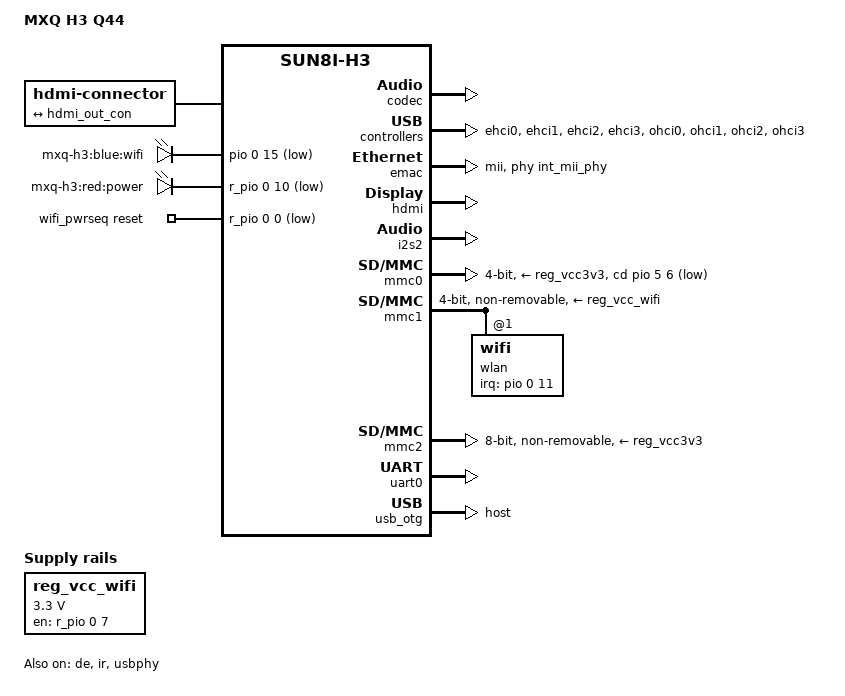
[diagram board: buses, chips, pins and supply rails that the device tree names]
// SPDX-License-Identifier: (GPL-2.0+ or MIT)
/*
 * MXQ H3 TV box, PCB Q44_V4.1_20210120.
 * Based on the Sunvell R69 DTS and the factory Android DT.
 */

/dts-v1/;
#include "sun8i-h3.dtsi"
#include "sunxi-common-regulators.dtsi"

#include <dt-bindings/gpio/gpio.h>
#include <dt-bindings/interrupt-controller/irq.h>
#include <dt-bindings/pinctrl/sun4i-a10.h>
#include <dt-bindings/thermal/thermal.h>

/ {
	model = "MXQ H3 Q44";
	compatible = "mxq,mxq-h3", "allwinner,sun8i-h3";

	aliases {
		ethernet0 = &emac;
		ethernet1 = &wlan;
		serial0 = &uart0;
	};

	chosen {
		stdout-path = "serial0:115200n8";
	};

	connector {
		compatible = "hdmi-connector";
		type = "a";

		port {
			hdmi_con_in: endpoint {
				remote-endpoint = <&hdmi_out_con>;
			};
		};
	};

	leds {
		compatible = "gpio-leds";

		/* mxq-h3-wifi-led turns this LED on while wlan0 has an IPv4 address. */
		led-0 {
			label = "mxq-h3:blue:wifi";
			gpios = <&pio 0 15 GPIO_ACTIVE_LOW>; /* PA15 */
			default-state = "off";
		};

		led-1 {
			label = "mxq-h3:red:power";
			gpios = <&r_pio 0 10 GPIO_ACTIVE_LOW>; /* PL10 */
			default-state = "on";
		};
	};

	reg_vcc_wifi: vcc-wifi-regulator {
		compatible = "regulator-fixed";
		regulator-name = "vcc-wifi";
		regulator-min-microvolt = <3300000>;
		regulator-max-microvolt = <3300000>;
		gpio = <&r_pio 0 7 GPIO_ACTIVE_HIGH>; /* PL7 */
		startup-delay-us = <70000>;
		enable-active-high;
	};

	wifi_pwrseq: pwrseq {
		compatible = "mmc-pwrseq-simple";
		reset-gpios = <&r_pio 0 0 GPIO_ACTIVE_LOW>; /* PL0 */
		post-power-on-delay-ms = <200>;
	};
};

&codec {
	allwinner,audio-routing =
		"Line Out", "LINEOUT",
		"MIC1", "Mic",
		"Mic",  "MBIAS";
	status = "okay";
};

/*
 * The board has no known CPU voltage control.
 * With PL6 as a GPIO regulator and OPPs up to 1.2 GHz, the kernel crashed under load.
 * The factory boot0 runs the CPU at 1008 MHz.
 */
&cpu0_opp_table {
	/delete-node/ opp-1104000000;
	/delete-node/ opp-1200000000;
	/delete-node/ opp-1296000000;
	/delete-node/ opp-1368000000;
};

&de {
	status = "okay";
};

&ehci0 {
	status = "okay";
};

&ehci1 {
	status = "okay";
};

&ehci2 {
	status = "okay";
};

&ehci3 {
	status = "okay";
};

&emac {
	phy-handle = <&int_mii_phy>;
	phy-mode = "mii";
	allwinner,leds-active-low;
	status = "okay";
};

&hdmi {
	status = "okay";
};

&hdmi_out {
	hdmi_out_con: endpoint {
		remote-endpoint = <&hdmi_con_in>;
	};
};

&i2s2 {
	status = "okay";
};

&ir {
	pinctrl-names = "default";
	pinctrl-0 = <&r_ir_rx_pin>;
	status = "okay";
};

&mmc0 {
	vmmc-supply = <&reg_vcc3v3>;
	bus-width = <4>;
	cd-gpios = <&pio 5 6 GPIO_ACTIVE_LOW>; /* PF6 */
	status = "okay";
};

/* iComm SSV6256P SDIO Wi-Fi */
&mmc1 {
	vmmc-supply = <&reg_vcc_wifi>;
	mmc-pwrseq = <&wifi_pwrseq>;
	bus-width = <4>;
	non-removable;
	status = "okay";

	wlan: wifi@1 {
		reg = <1>;
		interrupt-parent = <&pio>;
		interrupts = <0 11 IRQ_TYPE_EDGE_RISING>; /* PA11 */
		interrupt-names = "host-wake";
	};
};

&mmc2 {
	pinctrl-names = "default";
	pinctrl-0 = <&mmc2_8bit_pins>;
	vmmc-supply = <&reg_vcc3v3>;
	bus-width = <8>;
	non-removable;
	cap-mmc-hw-reset;
	status = "okay";
};

&mmc2_8bit_pins {
	/* Increase current from 30mA to 40mA for DDR eMMC */
	allwinner,drive = <SUN4I_PINCTRL_40_MA>;
};

&ohci0 {
	status = "okay";
};

&ohci1 {
	status = "okay";
};

&ohci2 {
	status = "okay";
};

&ohci3 {
	status = "okay";
};

&sound_hdmi {
	status = "okay";
};

&uart0 {
	pinctrl-names = "default";
	pinctrl-0 = <&uart0_pa_pins>;
	status = "okay";
};

&usb_otg {
	dr_mode = "host";
	status = "okay";
};

&usbphy {
	status = "okay";
};

/*
 * Cooling states: 0 = 1008, 1 = 960, 2 = 816, 3 = 648, 4 = 480 MHz.
 * The removed trips limited the CPU above 1008 MHz only.
 */
&{/thermal-zones/cpu_thermal/cooling-maps} {
	/delete-node/ cpu_warm_limit_cpu;
	/delete-node/ cpu_hot_pre_limit_cpu;
	/delete-node/ cpu_hot_limit_cpu;

	cpu_very_hot_pre_limit_cpu {
		cooling-device = <&cpu0 1 2>;
	};

	cpu_very_hot_limit_cpu {
		cooling-device = <&cpu0 3 THERMAL_NO_LIMIT>;
	};
};
